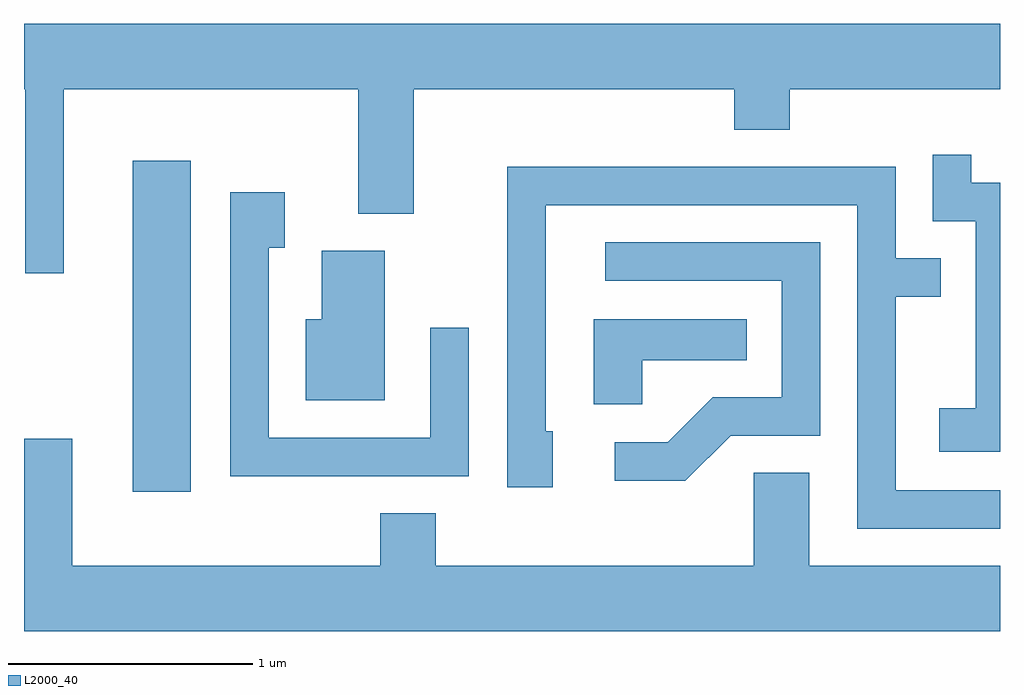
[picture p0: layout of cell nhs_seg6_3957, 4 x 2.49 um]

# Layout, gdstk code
import gdstk
lib = gdstk.Library(unit=1e-6, precision=1e-09)
def R(c, l, rs):  # rectangles x0, y0, x1, y1
    for r in rs: c.add(gdstk.rectangle(r[:2], r[2:], *l))
def P(c, l, *ps):  # polygons
    for p in ps: c.add(gdstk.Polygon(p, *l))
L2000_40 = (2000, 40)

nhs_seg6_3957 = lib.new_cell('nhs_seg6_3957')
R(nhs_seg6_3957, L2000_40, [(304.056,1641.626,304.294,1642.984)])
P(nhs_seg6_3957, L2000_40, [(303.774,1643.276),(304.981,1643.276),(304.981,1642.766),(305.209,1642.766),(305.209,1643.276),(306.521,1643.276),(306.521,1643.111),(306.749,1643.111),(306.749,1643.276),(307.611,1643.276),(307.611,1643.544),(303.611,1643.544),(303.611,1643.276),(303.616,1643.276),(303.616,1642.523),(303.774,1642.523)],
  [(307.611,1642.894),(307.494,1642.894),(307.494,1643.008),(307.336,1643.008),(307.336,1642.736),(307.511,1642.736),(307.511,1641.969),(307.361,1641.969),(307.361,1641.791),(307.611,1641.791)],
  [(307.611,1641.634),(307.184,1641.634),(307.184,1642.426),(307.368,1642.426),(307.368,1642.584),(307.184,1642.584),(307.184,1642.959),(305.591,1642.959),(305.591,1641.646),(305.779,1641.646),(305.779,1641.874),(305.749,1641.874),(305.749,1642.801),(307.026,1642.801),(307.026,1641.476),(307.611,1641.476)],
  [(305.434,1642.298),(305.276,1642.298),(305.276,1641.849),(304.614,1641.849),(304.614,1642.626),(304.679,1642.626),(304.679,1642.854),(304.456,1642.854),(304.456,1641.691),(305.434,1641.691)],
  [(306.507,1641.856),(306.874,1641.856),(306.874,1642.649),(305.993,1642.649),(305.993,1642.491),(306.716,1642.491),(306.716,1642.014),(306.434,1642.014),(306.249,1641.829),(306.033,1641.829),(306.033,1641.671),(306.322,1641.671)],
  [(305.089,1642.614),(304.831,1642.614),(304.831,1642.334),(304.766,1642.334),(304.766,1642.001),(305.089,1642.001)],
  [(306.144,1642.166),(306.573,1642.166),(306.573,1642.334),(305.946,1642.334),(305.946,1641.986),(306.144,1641.986)],
  [(307.611,1641.324),(306.829,1641.324),(306.829,1641.704),(306.601,1641.704),(306.601,1641.324),(305.299,1641.324),(305.299,1641.539),(305.071,1641.539),(305.071,1641.324),(303.809,1641.324),(303.809,1641.844),(303.611,1641.844),(303.611,1641.056),(307.611,1641.056)])

lib.write_gds('nhs_seg6_3957.gds')
